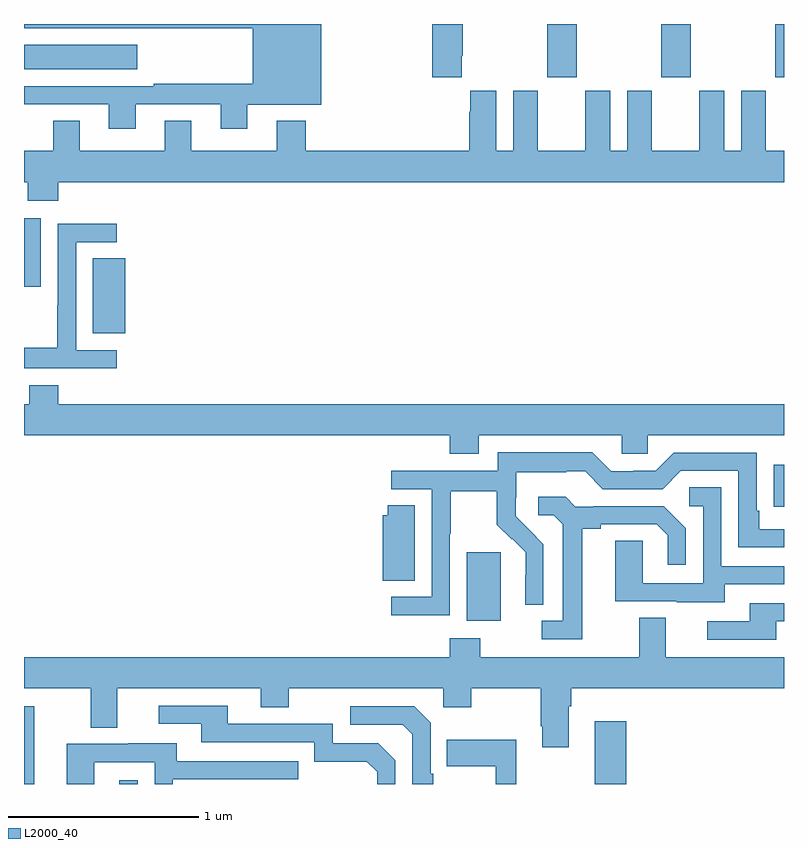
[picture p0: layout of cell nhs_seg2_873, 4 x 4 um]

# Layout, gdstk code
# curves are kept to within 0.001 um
import gdstk
lib = gdstk.Library(unit=1e-6, precision=1e-09)
def R(c, l, rs):  # rectangles x0, y0, x1, y1
    for r in rs: c.add(gdstk.rectangle(r[:2], r[2:], *l))
def P(c, l, *ps):  # polygons
    for p in ps: c.add(gdstk.Polygon(p, *l))
L2000_40 = (2000, 40)

nhs_seg2_873 = lib.new_cell('nhs_seg2_873')
R(nhs_seg2_873, L2000_40, [(155,645.8,155.053,646.209), (155.501,645.8,155.598,645.82), (158.003,645.8,158.171,646.129), (157.331,646.658,157.51,647.019), (158.947,647.26,159,647.479), (155.363,648.173,155.534,648.566), (155,648.417,155.089,648.778), (157.753,649.521,157.908,649.8), (158.353,649.521,158.508,649.8), (158.953,649.521,159,649.8), (155,649.562,155.596,649.69)])
P(nhs_seg2_873, L2000_40, [(157.303,649.633),(157.308,649.633),(157.308,649.8),(157.148,649.8),(157.148,649.521),(157.303,649.521)],
  [(155.587,649.377),(156.035,649.377),(156.035,649.248),(156.175,649.248),(156.175,649.376),(156.565,649.376),(156.565,649.8),(155,649.8),(155,649.778),(156.203,649.778),(156.203,649.486),(155.683,649.486),(155.683,649.473),(155,649.473),(155,649.377),(155.447,649.377),(155.447,649.248),(155.587,649.248)],
  [(155.18,648.968),(159,648.968),(159,649.132),(158.905,649.132),(158.905,649.45),(158.774,649.45),(158.774,649.132),(158.686,649.132),(158.686,649.45),(158.555,649.45),(158.555,649.132),(158.305,649.132),(158.305,649.45),(158.174,649.45),(158.174,649.132),(158.086,649.132),(158.086,649.45),(157.955,649.45),(157.955,649.132),(157.705,649.132),(157.705,649.45),(157.574,649.45),(157.574,649.132),(157.486,649.132),(157.486,649.45),(157.349,649.45),(157.349,649.337),(157.343,649.337),(157.343,649.132),(156.482,649.132),(156.482,649.291),(156.329,649.291),(156.329,649.132),(155.881,649.132),(155.881,649.292),(155.741,649.292),(155.741,649.132),(155.293,649.132),(155.293,649.292),(155.153,649.292),(155.153,649.132),(155,649.132),(155,648.968),(155.02,648.968),(155.02,648.869),(155.18,648.869)],
  [(155.488,648.084),(155.274,648.084),(155.274,648.651),(155.488,648.651),(155.488,648.75),(155.178,648.75),(155.178,648.32),(155.176,648.32),(155.176,648.097),(155,648.097),(155,647.988),(155.488,647.988)],
  [(155.18,647.899),(155.027,647.899),(155.027,647.8),(155,647.8),(155,647.636),(157.241,647.636),(157.241,647.537),(157.393,647.537),(157.393,647.636),(158.145,647.636),(158.145,647.538),(158.283,647.538),(158.283,647.636),(159,647.636),(159,647.8),(155.18,647.8)],
  [(157.242,647.116),(157.245,647.116),(157.245,647.34),(157.489,647.34),(157.489,647.165),(157.566,647.088),(157.569,647.091),(157.64,647.021),(157.64,646.898),(157.638,646.898),(157.638,646.744),(157.734,646.744),(157.734,647.062),(157.588,647.21),(157.588,647.307),(157.59,647.307),(157.59,647.441),(157.853,647.441),(157.853,647.445),(157.953,647.445),(158.046,647.352),(158.361,647.352),(158.457,647.448),(158.76,647.448),(158.76,647.046),(159,647.046),(159,647.142),(158.869,647.142),(158.869,647.239),(158.856,647.239),(158.856,647.544),(158.421,647.544),(158.325,647.448),(158.207,647.448),(158.207,647.445),(158.091,647.445),(157.991,647.545),(157.494,647.545),(157.494,647.448),(156.933,647.448),(156.933,647.352),(157.146,647.352),(157.146,646.785),(156.933,646.785),(156.933,646.687),(157.242,646.687)],
  [(158.689,646.851),(159,646.851),(159,646.947),(158.67,646.947),(158.67,647.363),(158.502,647.363),(158.502,647.262),(158.574,647.262),(158.574,646.857),(158.256,646.857),(158.256,647.081),(158.111,647.081),(158.111,646.761),(158.435,646.761),(158.435,646.757),(158.689,646.757)],
  [(157.939,647.144),(158.035,647.144),(158.035,647.166),(158.33,647.166),(158.387,647.109),(158.387,646.953),(158.484,646.953),(158.484,647.146),(158.368,647.262),(157.996,647.262),(157.996,647.259),(157.902,647.259),(157.85,647.311),(157.707,647.311),(157.707,647.214),(157.788,647.214),(157.835,647.167),(157.835,646.659),(157.725,646.659),(157.725,646.563),(157.939,646.563)],
  [(157.057,647.267),(156.914,647.267),(156.914,647.214),(156.887,647.214),(156.887,646.87),(157.057,646.87)],
  [(158.959,646.656),(159,646.656),(159,646.752),(158.819,646.752),(158.819,646.656),(158.595,646.656),(158.595,646.56),(158.959,646.56)],
  [(155,646.304),(155.351,646.304),(155.351,646.096),(155.491,646.096),(155.491,646.304),(156.245,646.304),(156.245,646.205),(156.393,646.205),(156.393,646.304),(157.206,646.304),(157.206,646.205),(157.353,646.205),(157.353,646.304),(157.72,646.304),(157.72,646.105),(157.727,646.105),(157.727,645.993),(157.867,645.993),(157.867,646.208),(157.88,646.208),(157.88,646.304),(159,646.304),(159,646.468),(158.377,646.468),(158.377,646.676),(158.237,646.676),(158.237,646.468),(157.401,646.468),(157.401,646.567),(157.241,646.567),(157.241,646.468),(155,646.468)],
  [(156.954,645.924),(156.864,646.014),(156.624,646.014),(156.624,646.116),(156.073,646.116),(156.073,646.212),(155.709,646.212),(155.709,646.116),(155.933,646.116),(155.933,646.02),(156.528,646.02),(156.528,645.917),(156.805,645.917),(156.858,645.864),(156.858,645.8),(156.954,645.8)],
  [(157.153,645.853),(157.14,645.853),(157.14,646.122),(157.053,646.209),(156.717,646.209),(156.717,646.113),(156.993,646.113),(157.044,646.062),(157.044,645.8),(157.153,645.8)],
  [(157.592,646.033),(157.225,646.033),(157.225,645.893),(157.482,645.893),(157.482,645.8),(157.592,645.8)],
  [(155.37,645.915),(155.688,645.915),(155.688,645.8),(155.784,645.8),(155.784,645.825),(156.443,645.825),(156.443,645.921),(155.803,645.921),(155.803,646.015),(155.549,646.015),(155.549,646.011),(155.225,646.011),(155.225,645.8),(155.37,645.8)])

lib.write_gds('nhs_seg2_873.gds')
